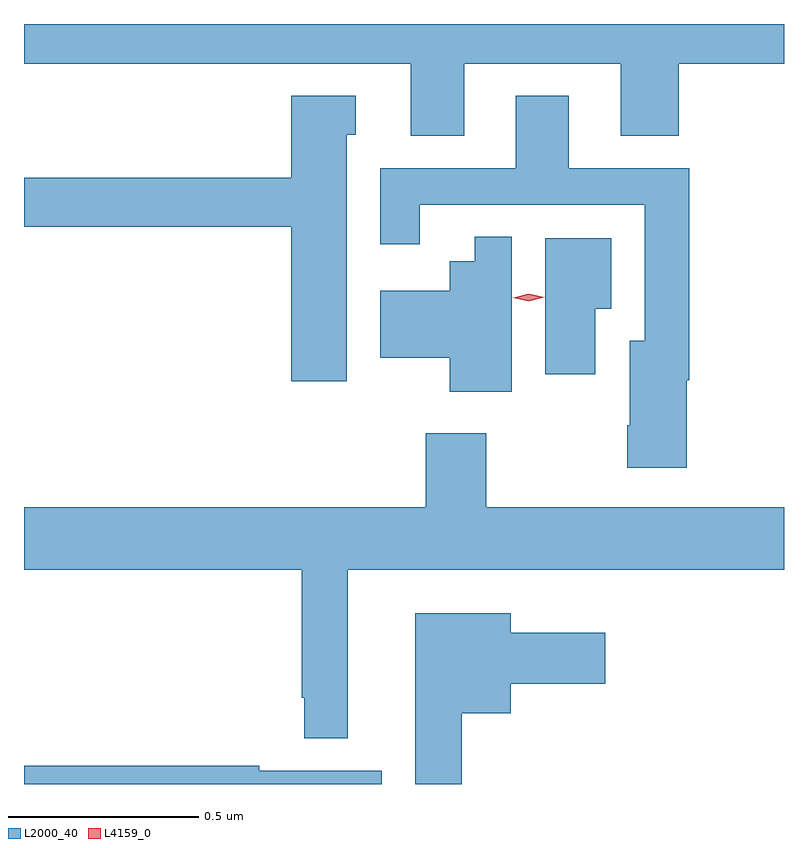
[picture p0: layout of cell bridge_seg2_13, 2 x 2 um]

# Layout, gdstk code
import gdstk
lib = gdstk.Library(unit=1e-6, precision=1e-09)
def P(c, l, *ps):  # polygons
    for p in ps: c.add(gdstk.Polygon(p, *l))
L2000_40 = (2000, 40)
L4159_0 = (4159, 0)

bridge_seg2_13 = lib.new_cell('bridge_seg2_13')
P(bridge_seg2_13, L2000_40, [(766.315,619.664),(766.727,619.664),(766.727,619.474),(766.88,619.474),(766.88,619.664),(767.157,619.664),(767.157,619.768),(765.157,619.768),(765.157,619.664),(766.175,619.664),(766.175,619.474),(766.315,619.474)],
  [(766.901,618.83),(766.907,618.83),(766.907,619.389),(766.591,619.389),(766.591,619.579),(766.451,619.579),(766.451,619.389),(766.094,619.389),(766.094,619.188),(766.198,619.188),(766.198,619.293),(766.791,619.293),(766.791,618.934),(766.751,618.934),(766.751,618.712),(766.744,618.712),(766.744,618.6),(766.901,618.6)],
  [(766.006,619.476),(766.03,619.476),(766.03,619.579),(765.86,619.579),(765.86,619.363),(765.157,619.363),(765.157,619.234),(765.86,619.234),(765.86,618.828),(766.006,618.828)],
  [(766.44,619.208),(766.343,619.208),(766.343,619.144),(766.277,619.144),(766.277,619.066),(766.094,619.066),(766.094,618.89),(766.277,618.89),(766.277,618.8),(766.44,618.8)],
  [(766.66,619.019),(766.702,619.019),(766.702,619.204),(766.529,619.204),(766.529,618.846),(766.66,618.846)],
  [(766.009,618.332),(767.157,618.332),(767.157,618.496),(766.374,618.496),(766.374,618.691),(766.214,618.691),(766.214,618.496),(765.157,618.496),(765.157,618.332),(765.888,618.332),(765.888,617.995),(765.894,617.995),(765.894,617.888),(766.009,617.888)],
  [(766.309,617.954),(766.438,617.954),(766.438,618.032),(766.687,618.032),(766.687,618.166),(766.438,618.166),(766.438,618.217),(766.187,618.217),(766.187,617.768),(766.309,617.768)],
  [(766.099,617.803),(765.776,617.803),(765.776,617.816),(765.157,617.816),(765.157,617.768),(766.099,617.768)])
P(bridge_seg2_13, L4159_0, [(766.485,619.038),(766.445,619.047),(766.445,619.047),(766.445,619.047),(766.485,619.058),(766.526,619.049),(766.526,619.049),(766.526,619.049)])

lib.write_gds('bridge_seg2_13.gds')
